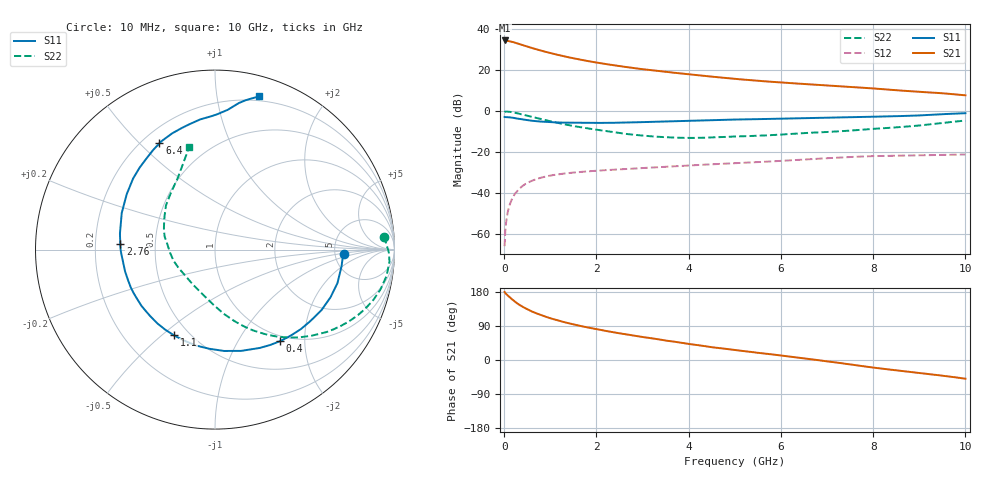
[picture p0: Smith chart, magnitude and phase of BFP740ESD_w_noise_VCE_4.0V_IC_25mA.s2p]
! Infineon Technologies  Discrete & RF Semiconductors
! BFP740ESD
! VCE =  4.0 V,  IC =  25 mA
! Common Emitter S-Parameters:  Jan 2016
# GHz  S  MA  R  50
!  f  S11  S21  S12  S22
! GHz  MAG  ANG  MAG  ANG  MAG  ANG  MAG  ANG
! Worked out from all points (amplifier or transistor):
!   233 points, 10 MHz to 10 GHz, reference 50 ohm
!   highest |S21| = 34.5 dB at 10 MHz (marker M1)
!   |S21| within 3 dB of that: start of sweep to 502.8 MHz
!   unconditionally stable (mu >= 1): start of sweep to 14.5 MHz; 4.397 GHz to 6.94 GHz
!   at 200 MHz: K = 0.21, MSG = 37.6 dB, |S12| = -41.6 dB
!   at 1.74 GHz: K = 0.64, MSG = 27.2 dB, |S12| = -29.6 dB
!   at 10 GHz: K = 0.72, MSG = 14.5 dB, |S12| = -21.2 dB
!   lowest NFmin = 0.88 dB at 450 MHz
!   S11 on the Smith chart (normalised r, x): 10 MHz: 6.03, -0.59; 400 MHz: 0.91, -1.53; 1.1 GHz: 0.41, -0.55; 2.76 GHz: 0.31, +0.03; 6.4 GHz: 0.27, +0.57; 10 GHz: 0.16, +1.31
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0.01  0.718 -1.9  53.08 179.6  0.0005 40.3  0.9452 4.4
0.02  0.7138 -2.9  52.29 176.9  0.001 67.7  0.9685 -0.9
0.09  0.7071 -13.7  51.27 169.0  0.0039 76.7  0.9678 -7.8
0.15  0.6962 -22.5  49.81 162.3  0.0063 75.1  0.9489 -13.4
0.2  0.6824 -29.6  48.19 157.2  0.0083 73.3  0.9265 -17.5
0.3  0.6522 -42.7  44.5 148.0  0.0117 68.3  0.8747 -24.8
0.4  0.626 -54.6  40.91 140.5  0.0148 63.5  0.821 -31.1
0.6  0.5829 -75.5  34.77 128.1  0.0198 56.0  0.7209 -41.7
0.7  0.567 -84.9  32.25 123.1  0.0218 52.8  0.6768 -46.3
0.9  0.5447 -101.4  27.98 114.2  0.0252 47.7  0.5987 -54.2
1.1  0.5295 -115.6  24.53 106.6  0.0277 43.7  0.5319 -61.0
1.36  0.519 -131.0  21.02 98.1  0.0302 39.8  0.4625 -68.7
1.68  0.5139 -146.5  17.79 89.2  0.0327 36.6  0.3984 -76.6
2.2  0.5155 -166.3  14.09 76.8  0.036 33.3  0.324 -88.3
2.76  0.5289 176.6  11.43 65.3  0.0391 31.3  0.2671 -102.3
3.4  0.5521 160.9  9.358 53.5  0.043 29.4  0.2332 -119.5
4.5  0.6041 139.1  6.935 33.8  0.05 25.8  0.2273 -153.5
5.1  0.6226 131.6  5.983 24.9  0.0538 24.1  0.2405 -167.0
6.4  0.6685 117.6  4.668 5.9  0.0644 19.3  0.2852 166.9
6.8  0.6823 112.7  4.373 -0.3  0.0684 16.9  0.3004 160.5
8.4  0.7439 91.4  3.29 -25.8  0.0807 3.2  0.3923 130.0
10  0.887 74.1  2.424 -49.4  0.0869 -8.9  0.5878 104.2
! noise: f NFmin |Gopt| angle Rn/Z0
0.45  0.88  0.07  -171  0.16
0.9  0.9  0.09  -160  0.09
1.9  0.94  0.12  -147  0.11
2.4  0.98  0.17  -133  0.12
5.5  1.13  0.34  -114  0.14
10  1.7  0.57  -84  0.59
